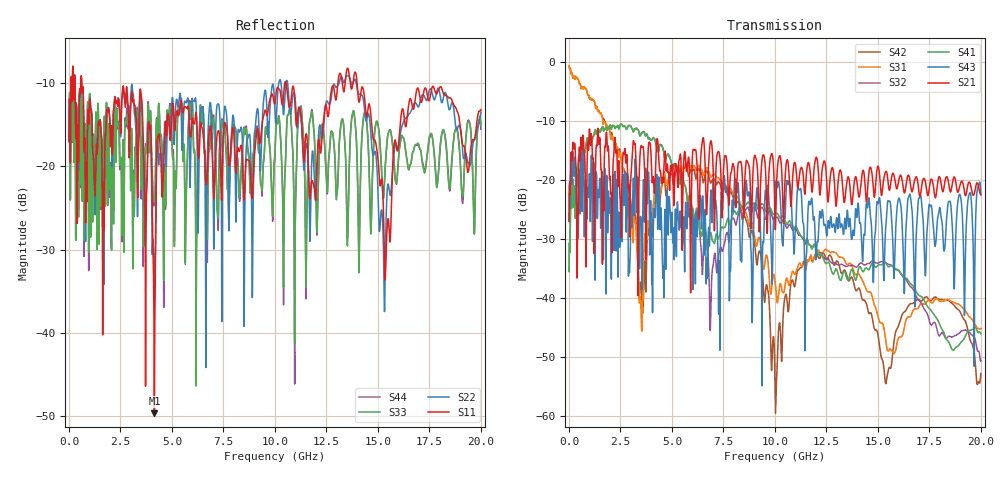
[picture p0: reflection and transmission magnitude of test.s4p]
! File created by SignalIntegrity v1.1.10: Signal and Power Integrity Tools
! https://github.com/TeledyneLeCroy/SignalIntegrity
# MHz S MA R 42.5
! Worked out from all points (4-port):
!   2000 points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, 10 MHz to 20 GHz, reference 42.5 ohm
!   strongest paths, dB at 10 MHz, 5.01 GHz, 10.01 GHz, 15.01 GHz, 20 GHz:
!     S21: -27.0, -17.6, -27.5, -17.7, -22.5
!     S43: -27.0, -25.8, -23.4, -24.0, -22.5
!     S41: -35.6, -17.8, -25.7, -34.5, -46.1
!     S32: -35.5, -17.8, -26.4, -34.1, -50.7
!     S31: -0.7, -18.1, -37.4, -43.2, -45.2
!     S42: -0.7, -19.1, -56.2, -46.4, -52.9
!   lowest |S11| = -49.7 dB at 4.15 GHz (marker M1), VSWR 1.01, Z = 42.7 - j0.198 ohm
!   |S11| at or under -10 dB: 624.6 MHz to 10.48 GHz (9.855 GHz wide, 177 % of centre); 10.54 GHz to 13.06 GHz (2.514 GHz wide, 21.3 % of centre); 13.99 GHz to end of sweep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
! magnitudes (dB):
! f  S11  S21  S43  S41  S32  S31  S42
! 10 MHz  -17.0  -27.0  -27.0  -35.6  -35.5  -0.7  -0.7
! 3.49 GHz  -11.1  -14.3  -26.4  -12.4  -12.2  -41.0  -37.5
! 4.15 GHz  -49.7  -22.3  -24.9  -13.0  -13.0  -22.5  -23.2
! 6.88 GHz  -15.1  -13.4  -22.4  -29.0  -44.0  -19.5  -20.5
! 10.04 GHz  -11.7  -26.4  -20.6  -25.7  -26.4  -38.2  -58.4
! 12.33 GHz  -15.2  -17.5  -25.6  -33.2  -32.9  -32.3  -32.4
! 20 GHz  -13.2  -22.5  -22.5  -46.1  -50.7  -45.2  -52.9
